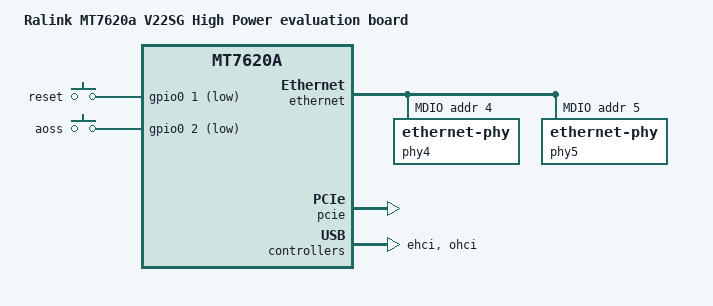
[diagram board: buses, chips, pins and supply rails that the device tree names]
/dts-v1/;

#include "mt7620a.dtsi"

/ {
	compatible = "ralink,mt7620a-eval-board", "ralink,mt7620a-soc";
	model = "Ralink MT7620a V22SG High Power evaluation board";

	gpio-keys-polled {
		compatible = "gpio-keys-polled";
		#address-cells = <1>;
		#size-cells = <0>;
		poll-interval = <20>;

		reset {
			label = "reset";
			gpios = <&gpio0 1 1>;
			linux,code = <0x198>;
		};

		aoss {
			label = "aoss";
			gpios = <&gpio0 2 1>;
			linux,code = <0x211>;
		};
	};

	nand {
		#address-cells = <1>;
		#size-cells = <1>;
		compatible = "mtk,mt7620-nand";

		partition@0 {
			label = "u-boot";
			reg = <0x0 0x40000>;
			read-only;
		};

		partition@40000 {
			label = "u-boot-env";
			reg = <0x40000 0x20000>;
			read-only;
		};

		factory: partition@60000 {
			label = "factory";
			reg = <0x60000 0x20000>;
			read-only;
		};

		partition@80000 {
			label = "firmware";
			reg = <0x80000 0x7f80000>;
		};
	};
};

&pinctrl {
	state_default: pinctrl0 {
		gpio {
			ralink,group = "i2c", "uartf", "spi";
			ralink,function = "gpio";
		};
	};
};

&ethernet {
	status = "okay";
	pinctrl-names = "default";
	pinctrl-0 = <&rgmii1_pins &rgmii2_pins &mdio_pins>;
	mediatek,portmap = "llllw";

	port@4 {
		status = "okay";
		phy-handle = <&phy4>;
		phy-mode = "rgmii";
	};

	port@5 {
		status = "okay";
		phy-handle = <&phy5>;
		phy-mode = "rgmii";
	};

	mdio-bus {
		status = "okay";

		phy4: ethernet-phy@4 {
			reg = <4>;
			phy-mode = "rgmii";
		};

		phy5: ethernet-phy@5 {
			reg = <5>;
			phy-mode = "rgmii";
		};
	};
};

&gsw {
	mediatek,port4 = "gmac";
};

&pcie {
	status = "okay";
};

&ehci {
	status = "okay";
};

&ohci {
	status = "okay";
};
